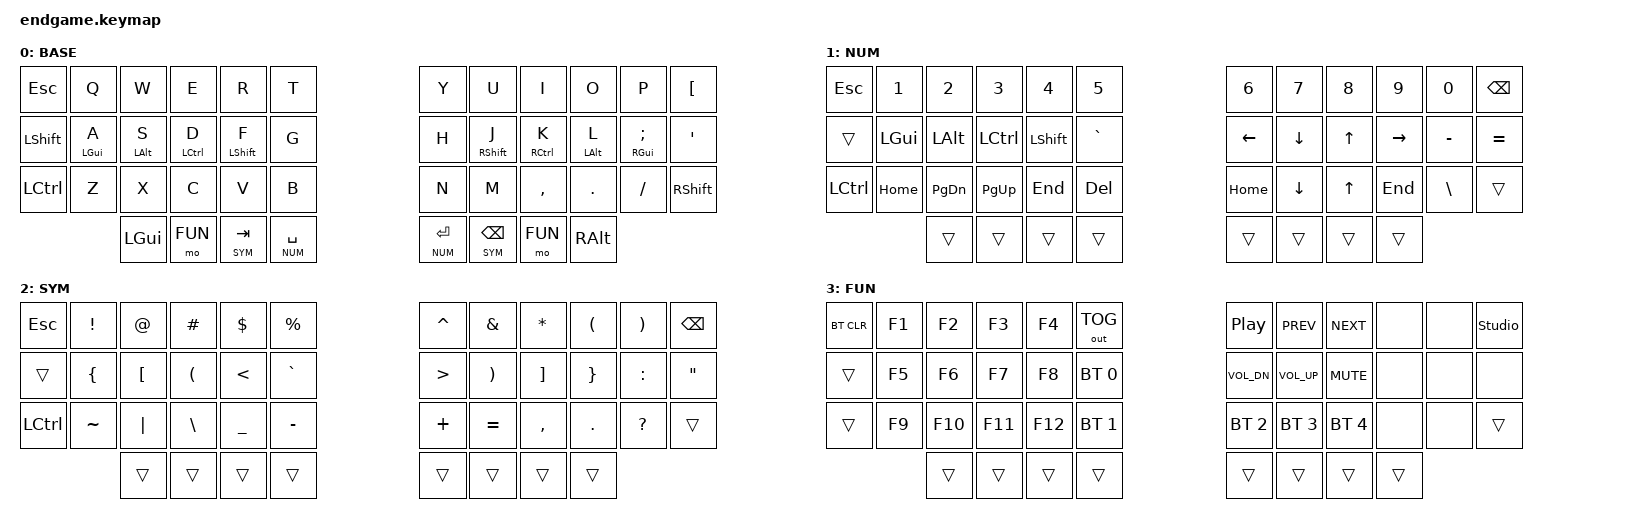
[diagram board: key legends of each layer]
#include <behaviors.dtsi>
#include <dt-bindings/zmk/keys.h>
#include <dt-bindings/zmk/bt.h>
#include <dt-bindings/zmk/outputs.h>

#define BASE 0
#define NUM  1
#define SYM  2
#define FUN  3

/*
 * Endgame Split - keymap
 *
 * Layers:
 *   BASE  QWERTY + positional home-row mods (GACS).
 *   NUM   numbers + navigation.
 *   SYM   coding symbols using ZMK/US HID key positions.
 *   FUN   function keys, media, Bluetooth and output selection.
 *
 * OS layout notes:
 *   On a Finnish OS layout, the BASE keys SEMI, SQT and LBKT produce
 *   o-umlaut, a-umlaut and a-ring respectively. On a US layout, they produce
 *   semicolon, apostrophe and left bracket.
 *
 *   The SYM layer uses US-position keycodes. Its printed symbols are therefore
 *   correct with a US OS layout. A Finnish OS layout needs a separate FI symbol
 *   mapping (or explicit locale switching) for every symbol to remain identical.
 *
 * Thumbs (outer -> center / center -> outer):
 *   Left:  LGUI | FUN | TAB/SYM | SPACE/NUM
 *   Right: ENTER/NUM | BSPC/SYM | FUN | RALT (AltGr)
 */

/ {
	behaviors {
		hml: home_row_mod_left {
			compatible = "zmk,behavior-hold-tap";
			#binding-cells = <2>;
			flavor = "balanced";
			tapping-term-ms = <250>;
			quick-tap-ms = <150>;
			require-prior-idle-ms = <125>;
			bindings = <&kp>, <&kp>;

			/* Right-hand keys and right thumb cluster. */
			hold-trigger-key-positions = <
				6 7 8 9 10 11
				18 19 20 21 22 23
				30 31 32 33 34 35
				40 41 42 43
			>;
			hold-trigger-on-release;
		};

		hmr: home_row_mod_right {
			compatible = "zmk,behavior-hold-tap";
			#binding-cells = <2>;
			flavor = "balanced";
			tapping-term-ms = <250>;
			quick-tap-ms = <150>;
			require-prior-idle-ms = <125>;
			bindings = <&kp>, <&kp>;

			/* Left-hand keys and left thumb cluster. */
			hold-trigger-key-positions = <
				0 1 2 3 4 5
				12 13 14 15 16 17
				24 25 26 27 28 29
				36 37 38 39
			>;
			hold-trigger-on-release;
		};

		tl: thumb_layer_tap {
			compatible = "zmk,behavior-hold-tap";
			#binding-cells = <2>;
			flavor = "balanced";
			tapping-term-ms = <180>;
			quick-tap-ms = <150>;
			bindings = <&mo>, <&kp>;
		};
	};

	keymap {
		compatible = "zmk,keymap";

		base_layer {
			display-name = "BASE";
			bindings = <
&kp ESC    &kp Q        &kp W         &kp E          &kp R         &kp T          &kp Y        &kp U          &kp I          &kp O         &kp P           &kp LBKT
&kp LSHFT  &hml LGUI A  &hml LALT S   &hml LCTRL D   &hml LSHFT F  &kp G          &kp H        &hmr RSHFT J   &hmr RCTRL K   &hmr LALT L   &hmr RGUI SEMI  &kp SQT
&kp LCTRL  &kp Z        &kp X         &kp C          &kp V         &kp B          &kp N        &kp M          &kp COMMA      &kp DOT       &kp FSLH        &kp RSHFT
                                      &kp LGUI        &mo FUN       &tl SYM TAB    &tl NUM SPACE    &tl NUM RET  &tl SYM BSPC  &mo FUN         &kp RALT
			>;
		};

		num_layer {
			display-name = "NUM";
			bindings = <
&kp ESC    &kp N1      &kp N2       &kp N3        &kp N4       &kp N5         &kp N6      &kp N7        &kp N8        &kp N9       &kp N0         &kp BSPC
&trans     &kp LGUI    &kp LALT     &kp LCTRL     &kp LSHFT    &kp GRAVE      &kp LEFT    &kp DOWN      &kp UP        &kp RIGHT    &kp MINUS      &kp EQUAL
&kp LCTRL  &kp HOME    &kp PG_DN    &kp PG_UP     &kp END      &kp DEL        &kp HOME    &kp DOWN      &kp UP        &kp END      &kp BSLH       &trans
                                    &trans        &trans       &trans         &trans          &trans      &trans        &trans       &trans
			>;
		};

		sym_layer {
			display-name = "SYM";
			bindings = <
&kp ESC    &kp EXCL    &kp AT       &kp HASH      &kp DLLR     &kp PRCNT      &kp CARET   &kp AMPS      &kp STAR      &kp LPAR     &kp RPAR       &kp BSPC
&trans     &kp LBRC    &kp LBKT     &kp LPAR      &kp LT       &kp GRAVE      &kp GT      &kp RPAR      &kp RBKT      &kp RBRC     &kp COLON      &kp DQT
&kp LCTRL  &kp TILDE   &kp PIPE     &kp BSLH      &kp UNDER    &kp MINUS      &kp PLUS    &kp EQUAL     &kp COMMA     &kp DOT      &kp QMARK      &trans
                                    &trans        &trans       &trans         &trans          &trans      &trans        &trans       &trans
			>;
		};

		fun_layer {
			display-name = "FUN";
			bindings = <
&bt BT_CLR &kp F1 	   &kp F2 		&kp F3 		  &kp F4 	   &out OUT_TOG    &kp C_PP     &kp C_PREV    &kp C_NEXT    &none        &none          &studio_unlock
&trans     &kp F5      &kp F6       &kp F7        &kp F8       &bt BT_SEL 0    &kp C_VOL_DN &kp C_VOL_UP  &kp C_MUTE    &none        &none          &none
&trans     &kp F9      &kp F10      &kp F11       &kp F12      &bt BT_SEL 1    &bt BT_SEL 2 &bt BT_SEL 3  &bt BT_SEL 4  &none        &none          &trans
                                    &trans        &trans       &trans         &trans           &trans       &trans        &trans       &trans
			>;
		};
	};
};
